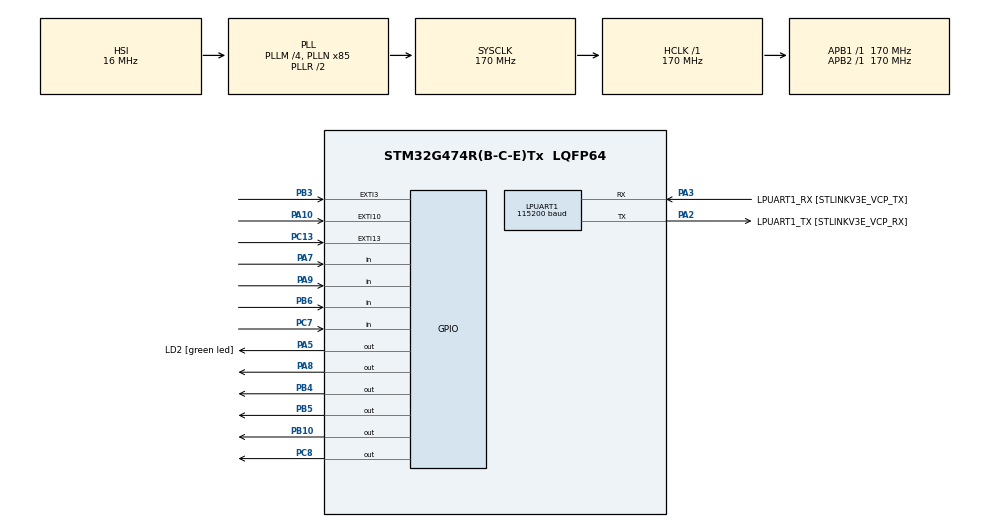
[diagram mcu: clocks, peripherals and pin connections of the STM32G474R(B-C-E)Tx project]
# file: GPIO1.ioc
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LPUART1.BaudRate=115200
LPUART1.WordLength=UART_WORDLENGTH_8B
Mcu.Family=STM32G4
Mcu.Name=STM32G474R(B-C-E)Tx
Mcu.Package=LQFP64
NVIC.EXTI15_10_IRQn=true\:0\:0\:false\:false\:true\:true\:true\:true
NVIC.PriorityGroup=NVIC_PRIORITYGROUP_4
PA10.GPIO_ModeDefaultEXTI=GPIO_MODE_IT_RISING
PA10.GPIO_PuPd=GPIO_NOPULL
PA10.Signal=GPXTI10
PA13.GPIO_Label=T_SWDIO
PA13.Mode=Serial_Wire
PA13.Signal=SYS_JTMS-SWDIO
PA14.GPIO_Label=T_SWCLK
PA14.Mode=Serial_Wire
PA14.Signal=SYS_JTCK-SWCLK
PA2.GPIO_Label=LPUART1_TX [STLINKV3E_VCP_RX]
PA2.Mode=Asynchronous
PA2.Signal=LPUART1_TX
PA3.GPIO_Label=LPUART1_RX [STLINKV3E_VCP_TX]
PA3.Mode=Asynchronous
PA3.Signal=LPUART1_RX
PA5.GPIO_Label=LD2 [green led]
PA5.Signal=GPIO_Output
PA7.GPIO_PuPd=GPIO_PULLUP
PA7.Signal=GPIO_Input
PA8.GPIO_ModeDefaultOutputPP=GPIO_MODE_OUTPUT_OD
PA8.GPIO_PuPd=GPIO_NOPULL
PA8.Signal=GPIO_Output
PA9.GPIO_PuPd=GPIO_PULLUP
PA9.Signal=GPIO_Input
PB10.GPIO_ModeDefaultOutputPP=GPIO_MODE_OUTPUT_OD
PB10.GPIO_PuPd=GPIO_NOPULL
PB10.Signal=GPIO_Output
PB3.Signal=GPXTI3
PB4.GPIO_ModeDefaultOutputPP=GPIO_MODE_OUTPUT_OD
PB4.GPIO_PuPd=GPIO_NOPULL
PB4.Signal=GPIO_Output
PB5.GPIO_ModeDefaultOutputPP=GPIO_MODE_OUTPUT_OD
PB5.GPIO_PuPd=GPIO_NOPULL
PB5.Signal=GPIO_Output
PB6.GPIO_PuPd=GPIO_PULLUP
PB6.Signal=GPIO_Input
PC13.Signal=GPXTI13
PC14-OSC32_IN.Mode=LSE-External-Oscillator
PC14-OSC32_IN.Signal=RCC_OSC32_IN
PC15-OSC32_OUT.Mode=LSE-External-Oscillator
PC15-OSC32_OUT.Signal=RCC_OSC32_OUT
PC7.GPIO_PuPd=GPIO_PULLUP
PC7.Signal=GPIO_Input
PC8.Signal=GPIO_Output
PF0-OSC_IN.Mode=HSE-External-Oscillator
PF0-OSC_IN.Signal=RCC_OSC_IN
PF1-OSC_OUT.Mode=HSE-External-Oscillator
PF1-OSC_OUT.Signal=RCC_OSC_OUT
ProjectManager.HeapSize=0x200
ProjectManager.StackSize=0x400
ProjectManager.TargetToolchain=STM32CubeIDE
RCC.ADC12Freq_Value=170000000
RCC.ADC345Freq_Value=170000000
RCC.AHBFreq_Value=170000000
RCC.APB1Freq_Value=170000000
RCC.APB1TimFreq_Value=170000000
RCC.APB2Freq_Value=170000000
RCC.APB2TimFreq_Value=170000000
RCC.CortexFreq_Value=170000000
RCC.EXTERNAL_CLOCK_VALUE=12288000
RCC.HCLKFreq_Value=170000000
RCC.HSE_VALUE=24000000
RCC.HSI48_VALUE=48000000
RCC.HSI_VALUE=16000000
RCC.PLLM=RCC_PLLM_DIV4
RCC.PLLN=85
RCC.RTCClockSelection=RCC_RTCCLKSOURCE_LSE
RCC.SYSCLKFreq_VALUE=170000000
RCC.SYSCLKSource=RCC_SYSCLKSOURCE_PLLCLK
RCC.USBFreq_Value=170000000
RCC.VCOOutputFreq_Value=340000000
VP_SYS_VS_DBSignals.Mode=DisableDeadBatterySignals
board=NUCLEO-G474RE

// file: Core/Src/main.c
/* USER CODE BEGIN Header */
/**
  ****************************************************************************
  * @file           : main.c
  * @brief          : Main program body
  ****************************************************************************
  * @attention
  *
  * Copyright (c) 2023 STMicroelectronics.
  * All rights reserved.
  *
  * This software is licensed under terms that can be found in the LICENSE file
  * in the root directory of this software component.
  * If no LICENSE file comes with this software, it is provided AS-IS.
  *
  ****************************************************************************
  */
/* USER CODE END Header */
#include "main.h"

/* USER CODE BEGIN PTD */
void ButtonMatrixRead();

/* USER CODE END PTD */

UART_HandleTypeDef hlpuart1;

/* USER CODE BEGIN PV */
struct _ButMtx_Struct {
GPIO_TypeDef* Port;
    uint16_t Pin;
};
struct _ButMtx_Struct BMX_L[4] = { {GPIOA,GPIO_PIN_9}, {GPIOC,GPIO_PIN_7}, {GPIOB,GPIO_PIN_6}, {GPIOA,GPIO_PIN_7}
};
struct _ButMtx_Struct BMX_R[4] = { {GPIOB,GPIO_PIN_5}, {GPIOB,GPIO_PIN_4}, {GPIOB,GPIO_PIN_10}, {GPIOA,GPIO_PIN_8}
};
uint16_t ButtonState = 0;
int c = 0;
int time = 0;
int stunum[] = {0,0,0,0,0,0,0,0,0,0,0};
int mynum[] = {6,5,3,4,0,5,0,0,0,0,2};
int i = 0;
/* USER CODE END PV */

void SystemClock_Config(void);
static void MX_GPIO_Init(void);
static void MX_LPUART1_UART_Init(void);

int main(void)
{

  /* MCU Configuration--------------------------------------------------------*/

  /* Reset of all peripherals, Initializes the Flash interface and the Systick. */
  HAL_Init();

  /* Configure the system clock */
  SystemClock_Config();

  /* Initialize all configured peripherals */
  MX_GPIO_Init();
  MX_LPUART1_UART_Init();

  /* Infinite loop */
  while (1)
  {

    /* USER CODE BEGIN 3 */
	  static uint32_t BTMX_TimeStamp = 0;
	  if(HAL_GetTick() > BTMX_TimeStamp)
	  {
	  BTMX_TimeStamp = HAL_GetTick() + 25; //next scan in 25 ms ButtonMatrixRead();
	  ButtonMatrixRead();
	  }
	  if (i == 11)
	  {
		  i = 0;
	  }
	  if (ButtonState == 1)
	  {
		  stunum[i] = 7;
		  i++;
		  while (ButtonState != 0)
		  {
		  BTMX_TimeStamp = HAL_GetTick() + 25; //next scan in 25 ms ButtonMatrixRead();
		  ButtonMatrixRead();
		  continue;
		  }
	  }
	  else if (ButtonState == 2)
	  	  {
	  		  stunum[i] = 4;
	  		  i++;
	  		  while (ButtonState != 0)
	  		  {
	  		  BTMX_TimeStamp = HAL_GetTick() + 25; //next scan in 25 ms ButtonMatrixRead();
	  		  ButtonMatrixRead();
	  		  continue;
	  		  }
	  	  }
	  else if (ButtonState == 4)
	  	  	  {
	  	  		  stunum[i] = 1;
	  	  		  i++;
	  	  		  while (ButtonState != 0)
	  	  		  {
	  	  		  BTMX_TimeStamp = HAL_GetTick() + 25; //next scan in 25 ms ButtonMatrixRead();
	  	  		  ButtonMatrixRead();
	  	  		  continue;
	  	  		  }
	  	  	  }
	  else if (ButtonState == 😎
	  	  	  {
	  	  		  stunum[i] = 0;
	  	  		  i++;
	  	  		  while (ButtonState != 0)
	  	  		  {
	  	  		  BTMX_TimeStamp = HAL_GetTick() + 25; //next scan in 25 ms ButtonMatrixRead();
	  	  		  ButtonMatrixRead();
	  	  		  continue;
	  	  		  }
	  	  	  }
	  else if (ButtonState == 16)
	  	  	  {
	  	  		  stunum[i] = 8;
	  	  		  i++;
	  	  		  while (ButtonState != 0)
	  	  		  {
	  	  		  BTMX_TimeStamp = HAL_GetTick() + 25; //next scan in 25 ms ButtonMatrixRead();
	  	  		  ButtonMatrixRead();
	  	  		  continue;
	  	  		  }
	  	  	  }
	  else if (ButtonState == 32)
	  	  	  {
	  	  		  stunum[i] = 5;
	  	  		  i++;
	  	  		  while (ButtonState != 0)
	  	  		  {
	  	  		  BTMX_TimeStamp = HAL_GetTick() + 25; //next scan in 25 ms ButtonMatrixRead();
	  	  		  ButtonMatrixRead();
	  	  		  continue;
	  	  		  }
	  	  	  }
	  else if (ButtonState == 64)
	  	  	  {
	  	  		  stunum[i] = 2;
	  	  		  i++;
	  	  		  while (ButtonState != 0)
	  	  		  {
	  	  		  BTMX_TimeStamp = HAL_GetTick() + 25; //next scan in 25 ms ButtonMatrixRead();
	  	  		  ButtonMatrixRead();
	  	  		  continue;
	  	  		  }
	  	  	  }
	  else if (ButtonState == 256)
	  	  	  {
	  	  		  stunum[i] = 9;
	  	  		  i++;
	  	  		  while (ButtonState != 0)
	  	  		  {
	  	  		  BTMX_TimeStamp = HAL_GetTick() + 25; //next scan in 25 ms ButtonMatrixRead();
	  	  		  ButtonMatrixRead();
	  	  		  continue;
	  	  		  }
	  	  	  }
	  else if (ButtonState == 512)
	  	  	  {
	  	  		  stunum[i] = 6;
	  	  		  i++;
	  	  		  while (ButtonState != 0)
	  	  		  {
	  	  		  BTMX_TimeStamp = HAL_GetTick() + 25; //next scan in 25 ms ButtonMatrixRead();
	  	  		  ButtonMatrixRead();
	  	  		  continue;
	  	  		  }
	  	  	  }
	  else if (ButtonState == 1024)
	  	  	  {
	  	  		  stunum[i] = 3;
	  	  		  i++;
	  	  		  while (ButtonState != 0)
	  	  		  {
	  	  		  BTMX_TimeStamp = HAL_GetTick() + 25; //next scan in 25 ms ButtonMatrixRead();
	  	  		  ButtonMatrixRead();
	  	  		  continue;
	  	  		  }
	  	  	  }
	  else if (ButtonState == 2048)
	  	  	  {
		  	  	  if (memcmp(stunum,mynum, sizeof(stunum)) == 0)
					  {
					  HAL_GPIO_TogglePin(GPIOA, GPIO_PIN_5);
					  while (ButtonState != 0)
					  {
					  BTMX_TimeStamp = HAL_GetTick() + 25; //next scan in 25 ms ButtonMatrixRead();
					  ButtonMatrixRead();
					  continue;
					  }
	  	  		  }
	  	  	  }
  }
  /* USER CODE END 3 */
}

void SystemClock_Config(void)
{
  RCC_OscInitTypeDef RCC_OscInitStruct = {0};
  RCC_ClkInitTypeDef RCC_ClkInitStruct = {0};

  /** Configure the main internal regulator output voltage
  */
  HAL_PWREx_ControlVoltageScaling(PWR_REGULATOR_VOLTAGE_SCALE1_BOOST);

  /** Initializes the RCC Oscillators according to the specified parameters
  * in the RCC_OscInitTypeDef structure.
  */
  RCC_OscInitStruct.OscillatorType = RCC_OSCILLATORTYPE_HSI;
  RCC_OscInitStruct.HSIState = RCC_HSI_ON;
  RCC_OscInitStruct.HSICalibrationValue = RCC_HSICALIBRATION_DEFAULT;
  RCC_OscInitStruct.PLL.PLLState = RCC_PLL_ON;
  RCC_OscInitStruct.PLL.PLLSource = RCC_PLLSOURCE_HSI;
  RCC_OscInitStruct.PLL.PLLM = RCC_PLLM_DIV4;
  RCC_OscInitStruct.PLL.PLLN = 85;
  RCC_OscInitStruct.PLL.PLLP = RCC_PLLP_DIV2;
  RCC_OscInitStruct.PLL.PLLQ = RCC_PLLQ_DIV2;
  RCC_OscInitStruct.PLL.PLLR = RCC_PLLR_DIV2;
  if (HAL_RCC_OscConfig(&RCC_OscInitStruct) != HAL_OK)
  {
    Error_Handler();
  }

  /** Initializes the CPU, AHB and APB buses clocks
  */
  RCC_ClkInitStruct.ClockType = RCC_CLOCKTYPE_HCLK|RCC_CLOCKTYPE_SYSCLK
                              |RCC_CLOCKTYPE_PCLK1|RCC_CLOCKTYPE_PCLK2;
  RCC_ClkInitStruct.SYSCLKSource = RCC_SYSCLKSOURCE_PLLCLK;
  RCC_ClkInitStruct.AHBCLKDivider = RCC_SYSCLK_DIV1;
  RCC_ClkInitStruct.APB1CLKDivider = RCC_HCLK_DIV1;
  RCC_ClkInitStruct.APB2CLKDivider = RCC_HCLK_DIV1;

  if (HAL_RCC_ClockConfig(&RCC_ClkInitStruct, FLASH_LATENCY_4) != HAL_OK)
  {
    Error_Handler();
  }
}

static void MX_LPUART1_UART_Init(void)
{

  hlpuart1.Instance = LPUART1;
  hlpuart1.Init.BaudRate = 115200;
  hlpuart1.Init.WordLength = UART_WORDLENGTH_8B;
  hlpuart1.Init.StopBits = UART_STOPBITS_1;
  hlpuart1.Init.Parity = UART_PARITY_NONE;
  hlpuart1.Init.Mode = UART_MODE_TX_RX;
  hlpuart1.Init.HwFlowCtl = UART_HWCONTROL_NONE;
  hlpuart1.Init.OneBitSampling = UART_ONE_BIT_SAMPLE_DISABLE;
  hlpuart1.Init.ClockPrescaler = UART_PRESCALER_DIV1;
  hlpuart1.AdvancedInit.AdvFeatureInit = UART_ADVFEATURE_NO_INIT;
  if (HAL_UART_Init(&hlpuart1) != HAL_OK)
  {
    Error_Handler();
  }
  if (HAL_UARTEx_SetTxFifoThreshold(&hlpuart1, UART_TXFIFO_THRESHOLD_1_8) != HAL_OK)
  {
    Error_Handler();
  }
  if (HAL_UARTEx_SetRxFifoThreshold(&hlpuart1, UART_RXFIFO_THRESHOLD_1_8) != HAL_OK)
  {
    Error_Handler();
  }
  if (HAL_UARTEx_DisableFifoMode(&hlpuart1) != HAL_OK)
  {
    Error_Handler();
  }

}

static void MX_GPIO_Init(void)
{
  GPIO_InitTypeDef GPIO_InitStruct = {0};

  /* GPIO Ports Clock Enable */
  __HAL_RCC_GPIOC_CLK_ENABLE();
  __HAL_RCC_GPIOF_CLK_ENABLE();
  __HAL_RCC_GPIOA_CLK_ENABLE();
  __HAL_RCC_GPIOB_CLK_ENABLE();

  /*Configure GPIO pin Output Level */
  HAL_GPIO_WritePin(GPIOA, LD2_Pin|GPIO_PIN_8, GPIO_PIN_RESET);

  /*Configure GPIO pin Output Level */
  HAL_GPIO_WritePin(GPIOB, GPIO_PIN_10|GPIO_PIN_4|GPIO_PIN_5, GPIO_PIN_RESET);

  /*Configure GPIO pin Output Level */
  HAL_GPIO_WritePin(GPIOC, GPIO_PIN_8, GPIO_PIN_RESET);

  /*Configure GPIO pin : PC13 */
  GPIO_InitStruct.Pin = GPIO_PIN_13;
  GPIO_InitStruct.Mode = GPIO_MODE_IT_RISING;
  GPIO_InitStruct.Pull = GPIO_NOPULL;
  HAL_GPIO_Init(GPIOC, &GPIO_InitStruct);

  /*Configure GPIO pin : LD2_Pin */
  GPIO_InitStruct.Pin = LD2_Pin;
  GPIO_InitStruct.Mode = GPIO_MODE_OUTPUT_PP;
  GPIO_InitStruct.Pull = GPIO_NOPULL;
  GPIO_InitStruct.Speed = GPIO_SPEED_FREQ_LOW;
  HAL_GPIO_Init(LD2_GPIO_Port, &GPIO_InitStruct);

  /*Configure GPIO pins : PA7 PA9 */
  GPIO_InitStruct.Pin = GPIO_PIN_7|GPIO_PIN_9;
  GPIO_InitStruct.Mode = GPIO_MODE_INPUT;
  GPIO_InitStruct.Pull = GPIO_PULLUP;
  HAL_GPIO_Init(GPIOA, &GPIO_InitStruct);

  /*Configure GPIO pins : PB10 PB4 PB5 */
  GPIO_InitStruct.Pin = GPIO_PIN_10|GPIO_PIN_4|GPIO_PIN_5;
  GPIO_InitStruct.Mode = GPIO_MODE_OUTPUT_OD;
  GPIO_InitStruct.Pull = GPIO_NOPULL;
  GPIO_InitStruct.Speed = GPIO_SPEED_FREQ_LOW;
  HAL_GPIO_Init(GPIOB, &GPIO_InitStruct);

  /*Configure GPIO pin : PC7 */
  GPIO_InitStruct.Pin = GPIO_PIN_7;
  GPIO_InitStruct.Mode = GPIO_MODE_INPUT;
  GPIO_InitStruct.Pull = GPIO_PULLUP;
  HAL_GPIO_Init(GPIOC, &GPIO_InitStruct);

  /*Configure GPIO pin : PC8 */
  GPIO_InitStruct.Pin = GPIO_PIN_8;
  GPIO_InitStruct.Mode = GPIO_MODE_OUTPUT_PP;
  GPIO_InitStruct.Pull = GPIO_NOPULL;
  GPIO_InitStruct.Speed = GPIO_SPEED_FREQ_LOW;
  HAL_GPIO_Init(GPIOC, &GPIO_InitStruct);

  /*Configure GPIO pin : PA8 */
  GPIO_InitStruct.Pin = GPIO_PIN_8;
  GPIO_InitStruct.Mode = GPIO_MODE_OUTPUT_OD;
  GPIO_InitStruct.Pull = GPIO_NOPULL;
  GPIO_InitStruct.Speed = GPIO_SPEED_FREQ_LOW;
  HAL_GPIO_Init(GPIOA, &GPIO_InitStruct);

  /*Configure GPIO pin : PA10 */
  GPIO_InitStruct.Pin = GPIO_PIN_10;
  GPIO_InitStruct.Mode = GPIO_MODE_IT_RISING;
  GPIO_InitStruct.Pull = GPIO_NOPULL;
  HAL_GPIO_Init(GPIOA, &GPIO_InitStruct);

  /*Configure GPIO pin : PB3 */
  GPIO_InitStruct.Pin = GPIO_PIN_3;
  GPIO_InitStruct.Mode = GPIO_MODE_IT_RISING;
  GPIO_InitStruct.Pull = GPIO_NOPULL;
  HAL_GPIO_Init(GPIOB, &GPIO_InitStruct);

  /*Configure GPIO pin : PB6 */
  GPIO_InitStruct.Pin = GPIO_PIN_6;
  GPIO_InitStruct.Mode = GPIO_MODE_INPUT;
  GPIO_InitStruct.Pull = GPIO_PULLUP;
  HAL_GPIO_Init(GPIOB, &GPIO_InitStruct);

  /* EXTI interrupt init*/
  HAL_NVIC_SetPriority(EXTI15_10_IRQn, 0, 0);
  HAL_NVIC_EnableIRQ(EXTI15_10_IRQn);

}

/* USER CODE BEGIN 4 */
void ButtonMatrixRead(){ static uint8_t X=0;
for(int i=0; i<4; i++) {
if(HAL_GPIO_ReadPin(BMX_L[i].Port, BMX_L[i].Pin) == GPIO_PIN_RESET) { //�?�?ุมถู�?�?ด
ButtonState |= 1 << (i + (X * 4)); }
else
{
ButtonState &= ~(1 << (i + (X * 4)));
} }
//set currentL to Hi-z (open drain)
HAL_GPIO_WritePin(BMX_R[X].Port, BMX_R[X].Pin, GPIO_PIN_SET);
//set nextL to low
uint8_t nextX = (X + 1) % 4;
HAL_GPIO_WritePin(BMX_R[nextX].Port, BMX_R[nextX].Pin, GPIO_PIN_RESET); X = nextX;
}
void HAL_GPIO_EXTI_Callback(uint16_t GPIO_Pin)
{
if(GPIO_Pin == GPIO_PIN_10)
{
HAL_GPIO_WritePin(GPIOA, GPIO_PIN_5, 0);
c = 1;
i = 0;
	for (int j=0;j<11;j++)
	{
	stunum[j] = 0;
	}
}
}
/* USER CODE END 4 */

void Error_Handler(void)
{
  __disable_irq();
  while (1)
  {
  }
}
